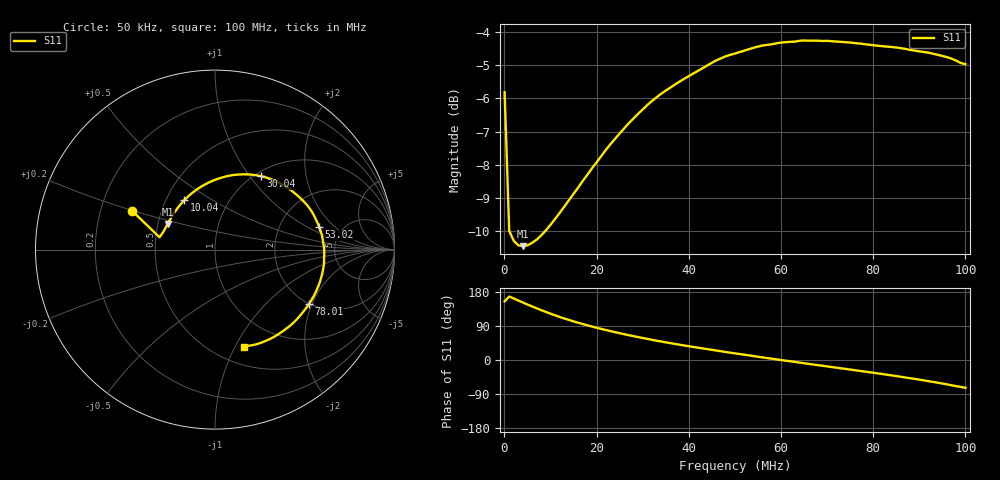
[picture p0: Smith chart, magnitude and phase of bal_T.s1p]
# Hz S RI R 50
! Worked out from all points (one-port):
!   101 points, 50 kHz to 100 MHz, reference 50 ohm
!   lowest |S11| = -10.4 dB at 4.048 MHz (marker M1), VSWR 1.86, Z = 28.1 + j8.85 ohm
!   |S11| at or under -10 dB: 1.103 MHz to 8.802 MHz (7.699 MHz wide, 155 % of centre)
!   S11 on the Smith chart (normalised r, x): 50 kHz: 0.34, +0.20; 10.04 MHz: 0.62, +0.38; 30.04 MHz: 1.06, +1.14; 53.02 MHz: 3.38, +1.31; 78.01 MHz: 1.98, -1.90; 100 MHz: 0.68, -1.09
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50000  -0.4634 0.2176
1049500  -0.3092 0.0689
2049000  -0.2911 0.0937
4048000  -0.2641 0.1432
7046500  -0.2217 0.2131
1.0045e7  -0.1721 0.2742
1.30435e7  -0.1148 0.3252
1.6042e7  -0.0523 0.3646
1.90405e7  0.0126 0.3935
2.2039e7  0.0798 0.412
2.50375e7  0.1469 0.4191
3.0035e7  0.2561 0.409
3.4033e7  0.3361 0.3828
3.8031e7  0.4055 0.3434
4.50275e7  0.5062 0.2557
5.0025e7  0.5587 0.1752
5.30235e7  0.5808 0.1254
5.70215e7  0.601 0.0533
6.30185e7  0.6077 -0.0541
6.50175e7  0.6057 -0.0911
6.90155e7  0.5901 -0.1602
7.50125e7  0.5502 -0.2592
7.8011e7  0.5224 -0.3048
8.4008e7  0.4545 -0.3898
8.8006e7  0.3964 -0.4407
9.10045e7  0.3479 -0.4748
9.50025e7  0.2717 -0.5132
1e8  0.1613 -0.5407
